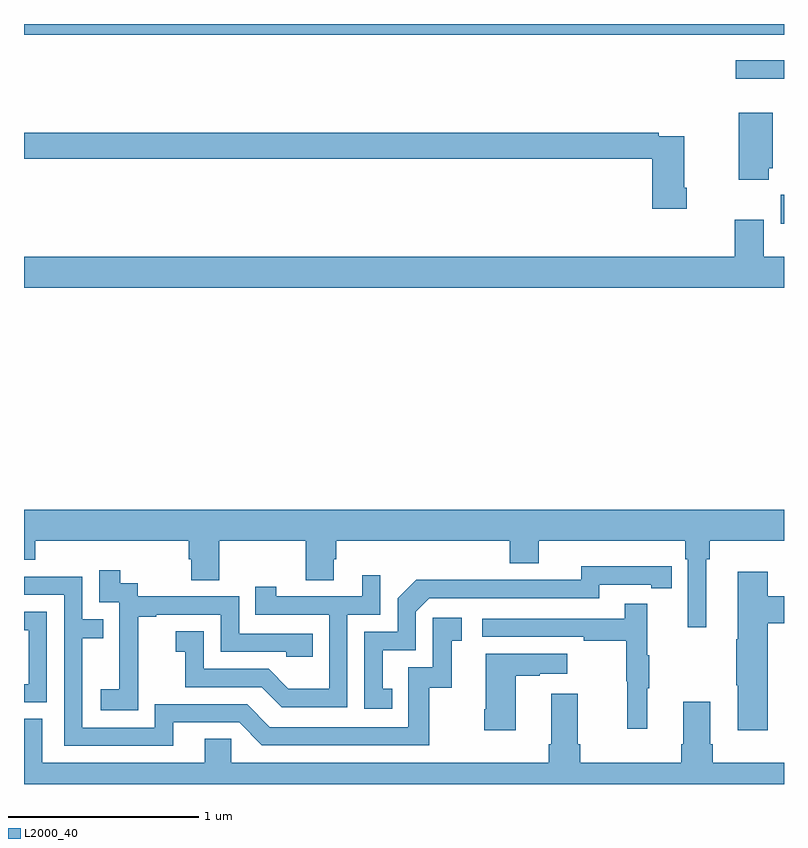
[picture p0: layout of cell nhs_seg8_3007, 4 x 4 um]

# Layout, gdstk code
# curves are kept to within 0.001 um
import gdstk
lib = gdstk.Library(unit=1e-6, precision=1e-09)
def R(c, l, rs):  # rectangles x0, y0, x1, y1
    for r in rs: c.add(gdstk.rectangle(r[:2], r[2:], *l))
def P(c, l, *ps):  # polygons
    for p in ps: c.add(gdstk.Polygon(p, *l))
L2000_40 = (2000, 40)

nhs_seg8_3007 = lib.new_cell('nhs_seg8_3007')
R(nhs_seg8_3007, L2000_40, [(302.984,1104.848,303,1105.002), (302.745,1105.611,303,1105.708), (299,1105.844,303,1105.9)])
P(nhs_seg8_3007, L2000_40, [(302.92,1105.14),(302.941,1105.14),(302.941,1105.432),(302.762,1105.432),(302.762,1105.08),(302.92,1105.08)],
  [(302.489,1105.039),(302.476,1105.039),(302.476,1105.308),(302.342,1105.308),(302.342,1105.328),(299,1105.328),(299,1105.192),(302.306,1105.192),(302.306,1104.927),(302.489,1104.927)],
  [(303,1104.676),(302.893,1104.676),(302.893,1104.871),(302.741,1104.871),(302.741,1104.676),(299,1104.676),(299,1104.512),(303,1104.512)],
  [(302.59,1103.084),(302.609,1103.084),(302.609,1103.18),(303,1103.18),(303,1103.344),(299,1103.344),(299,1103.081),(299.06,1103.081),(299.06,1103.18),(299.867,1103.18),(299.867,1103.082),(299.879,1103.082),(299.879,1102.972),(300.027,1102.972),(300.027,1103.18),(300.484,1103.18),(300.484,1102.972),(300.631,1102.972),(300.631,1103.082),(300.644,1103.082),(300.644,1103.18),(301.556,1103.18),(301.556,1103.063),(301.708,1103.063),(301.708,1103.18),(302.48,1103.18),(302.48,1103.084),(302.493,1103.084),(302.493,1102.725),(302.59,1102.725)],
  [(300.938,1102.401),(300.889,1102.401),(300.889,1102.605),(301.062,1102.605),(301.062,1102.806),(301.134,1102.878),(302.028,1102.878),(302.028,1102.95),(302.3,1102.95),(302.3,1102.93),(302.408,1102.93),(302.408,1103.046),(301.932,1103.047),(301.932,1102.974),(301.472,1102.974),(301.472,1102.976),(301.064,1102.976),(300.966,1102.878),(300.966,1102.701),(300.792,1102.701),(300.792,1102.296),(300.938,1102.296)],
  [(299.601,1102.495),(299.6,1102.495),(299.6,1102.779),(299.695,1102.779),(299.695,1102.791),(300.036,1102.791),(300.036,1102.596),(300.381,1102.596),(300.381,1102.569),(300.521,1102.569),(300.521,1102.692),(300.132,1102.692),(300.132,1102.887),(299.598,1102.887),(299.598,1102.956),(299.506,1102.956),(299.506,1103.026),(299.397,1103.026),(299.397,1102.857),(299.502,1102.857),(299.502,1102.628),(299.501,1102.628),(299.501,1102.399),(299.403,1102.399),(299.403,1102.289),(299.601,1102.289)],
  [(302.915,1102.745),(303,1102.745),(303,1102.887),(302.915,1102.887),(302.915,1103.017),(302.756,1103.017),(302.756,1102.661),(302.749,1102.661),(302.749,1102.42),(302.756,1102.42),(302.756,1102.182),(302.915,1102.182)],
  [(300.702,1102.791),(300.876,1102.791),(300.876,1102.999),(300.779,1102.999),(300.779,1102.887),(300.328,1102.887),(300.328,1102.939),(300.217,1102.939),(300.217,1102.791),(300.606,1102.791),(300.606,1102.402),(300.392,1102.402),(300.288,1102.506),(299.946,1102.506),(299.946,1102.705),(299.799,1102.705),(299.799,1102.595),(299.848,1102.595),(299.848,1102.41),(300.251,1102.41),(300.356,1102.305),(300.702,1102.305)],
  [(299.785,1102.224),(300.132,1102.224),(300.252,1102.104),(301.132,1102.104),(301.132,1102.407),(301.25,1102.407),(301.25,1102.653),(301.303,1102.653),(301.303,1102.774),(301.152,1102.774),(301.152,1102.515),(301.023,1102.515),(301.023,1102.2),(300.294,1102.2),(300.174,1102.32),(299.688,1102.32),(299.688,1102.197),(299.307,1102.197),(299.307,1102.666),(299.417,1102.666),(299.417,1102.767),(299.307,1102.767),(299.307,1102.992),(299,1102.992),(299,1102.896),(299.211,1102.896),(299.211,1102.101),(299.785,1102.101)],
  [(302.279,1102.403),(302.29,1102.403),(302.29,1102.577),(302.279,1102.577),(302.279,1102.849),(302.161,1102.849),(302.161,1102.77),(301.413,1102.77),(301.413,1102.674),(301.945,1102.674),(301.945,1102.654),(302.169,1102.654),(302.169,1102.44),(302.176,1102.44),(302.176,1102.191),(302.279,1102.191)],
  [(299.121,1102.806),(299,1102.806),(299,1102.71),(299.025,1102.71),(299.025,1102.425),(299,1102.425),(299,1102.329),(299.121,1102.329)],
  [(301.588,1102.471),(301.715,1102.471),(301.715,1102.481),(301.858,1102.481),(301.858,1102.585),(301.43,1102.585),(301.43,1102.294),(301.423,1102.294),(301.423,1102.182),(301.588,1102.182)],
  [(303,1102.012),(302.624,1102.012),(302.624,1102.108),(302.611,1102.108),(302.611,1102.333),(302.471,1102.333),(302.471,1102.108),(302.459,1102.108),(302.459,1102.012),(301.928,1102.012),(301.928,1102.108),(301.915,1102.108),(301.915,1102.375),(301.775,1102.375),(301.775,1102.108),(301.763,1102.108),(301.763,1102.012),(300.09,1102.012),(300.09,1102.139),(299.951,1102.139),(299.951,1102.012),(299.095,1102.012),(299.095,1102.244),(299,1102.244),(299,1101.9),(303,1101.9)])

lib.write_gds('nhs_seg8_3007.gds')
